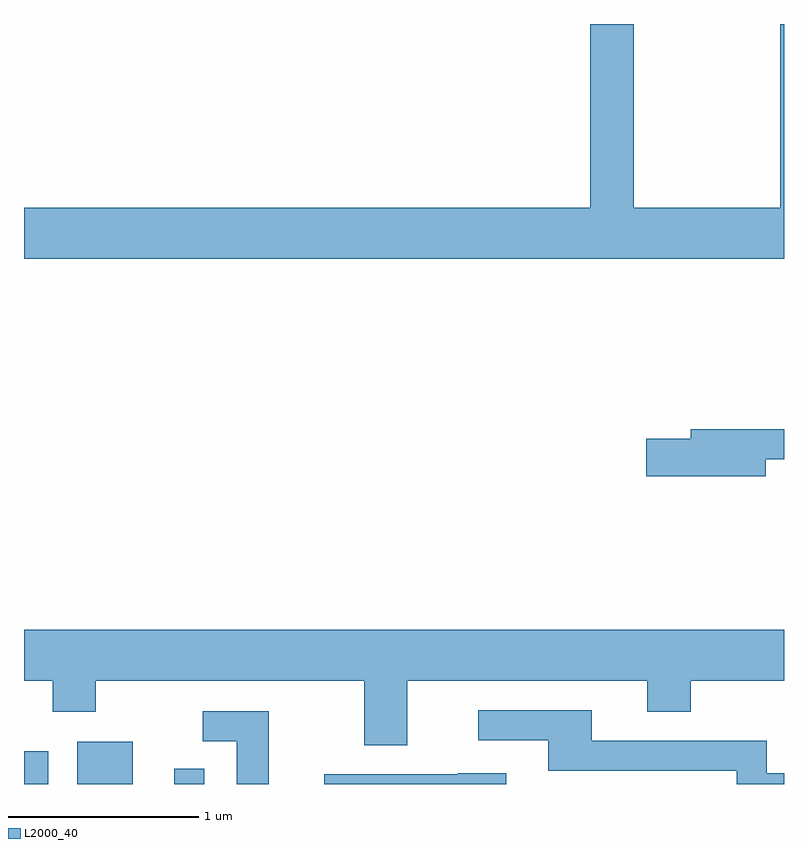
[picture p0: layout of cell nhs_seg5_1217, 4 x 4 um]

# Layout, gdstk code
import gdstk
lib = gdstk.Library(unit=1e-6, precision=1e-09)
def R(c, l, rs):  # rectangles x0, y0, x1, y1
    for r in rs: c.add(gdstk.rectangle(r[:2], r[2:], *l))
def P(c, l, *ps):  # polygons
    for p in ps: c.add(gdstk.Polygon(p, *l))
L2000_40 = (2000, 40)

nhs_seg5_1217 = lib.new_cell('nhs_seg5_1217')
R(nhs_seg5_1217, L2000_40, [(221.611,1414.072,221.739,1414.244), (221.891,1414.072,222.184,1414.294), (222.401,1414.072,222.559,1414.153)])
P(nhs_seg5_1217, L2000_40, [(225.611,1418.072),(225.591,1418.072),(225.591,1417.104),(224.819,1417.104),(224.819,1418.072),(224.591,1418.072),(224.591,1417.104),(221.611,1417.104),(221.611,1416.836),(225.611,1416.836)],
  [(225.514,1415.781),(225.611,1415.781),(225.611,1415.939),(225.121,1415.939),(225.121,1415.889),(224.886,1415.889),(224.886,1415.691),(225.514,1415.691)],
  [(223.629,1414.616),(224.891,1414.616),(224.891,1414.451),(225.119,1414.451),(225.119,1414.616),(225.611,1414.616),(225.611,1414.884),(221.611,1414.884),(221.611,1414.616),(221.761,1414.616),(221.761,1414.451),(221.989,1414.451),(221.989,1414.616),(223.401,1414.616),(223.401,1414.276),(223.629,1414.276)],
  [(225.611,1414.129),(225.519,1414.129),(225.519,1414.299),(224.599,1414.299),(224.599,1414.459),(224.003,1414.459),(224.003,1414.301),(224.371,1414.301),(224.371,1414.141),(225.361,1414.141),(225.361,1414.072),(225.611,1414.072)],
  [(222.899,1414.454),(222.553,1414.454),(222.553,1414.296),(222.731,1414.296),(222.731,1414.072),(222.899,1414.072)],
  [(224.149,1414.129),(223.895,1414.129),(223.895,1414.124),(223.191,1414.124),(223.191,1414.072),(224.149,1414.072)])

lib.write_gds('nhs_seg5_1217.gds')
